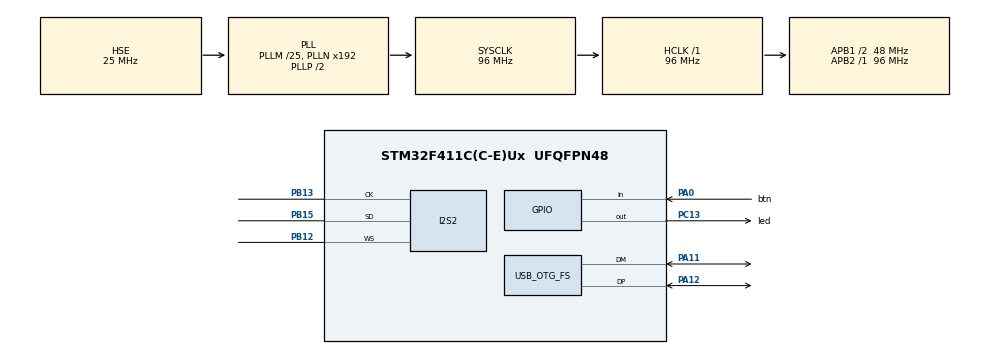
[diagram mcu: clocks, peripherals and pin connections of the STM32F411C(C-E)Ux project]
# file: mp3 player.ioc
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Dma.MEMTOMEM.1.Direction=DMA_MEMORY_TO_MEMORY
Dma.MEMTOMEM.1.FIFOMode=DMA_FIFOMODE_ENABLE
Dma.MEMTOMEM.1.FIFOThreshold=DMA_FIFO_THRESHOLD_FULL
Dma.MEMTOMEM.1.Instance=DMA2_Stream0
Dma.MEMTOMEM.1.MemBurst=DMA_MBURST_SINGLE
Dma.MEMTOMEM.1.MemDataAlignment=DMA_MDATAALIGN_HALFWORD
Dma.MEMTOMEM.1.MemInc=DMA_MINC_ENABLE
Dma.MEMTOMEM.1.Mode=DMA_NORMAL
Dma.MEMTOMEM.1.PeriphBurst=DMA_PBURST_SINGLE
Dma.MEMTOMEM.1.PeriphDataAlignment=DMA_PDATAALIGN_HALFWORD
Dma.MEMTOMEM.1.PeriphInc=DMA_PINC_DISABLE
Dma.MEMTOMEM.1.Priority=DMA_PRIORITY_HIGH
Dma.Request0=SPI2_TX
Dma.Request1=MEMTOMEM
Dma.SPI2_TX.0.Direction=DMA_MEMORY_TO_PERIPH
Dma.SPI2_TX.0.FIFOMode=DMA_FIFOMODE_DISABLE
Dma.SPI2_TX.0.Instance=DMA1_Stream4
Dma.SPI2_TX.0.MemDataAlignment=DMA_MDATAALIGN_HALFWORD
Dma.SPI2_TX.0.MemInc=DMA_MINC_ENABLE
Dma.SPI2_TX.0.Mode=DMA_CIRCULAR
Dma.SPI2_TX.0.PeriphDataAlignment=DMA_PDATAALIGN_HALFWORD
Dma.SPI2_TX.0.PeriphInc=DMA_PINC_DISABLE
Dma.SPI2_TX.0.Priority=DMA_PRIORITY_VERY_HIGH
FATFS._FS_LOCK=0
FATFS._FS_READONLY=0
FATFS._FS_RPATH=2
FATFS._MAX_SS=512
FATFS._USE_FIND=1
FATFS._USE_LFN=0
FATFS._USE_MKFS=0
I2S2.AudioFreq=I2S_AUDIOFREQ_44K
I2S2.ErrorAudioFreq=0.22 %
I2S2.FullDuplexMode=I2S_FULLDUPLEXMODE_DISABLE
I2S2.Instance=SPI$Index
I2S2.RealAudioFreq=44.1 KHz
I2S2.VirtualMode=I2S_MODE_MASTER
Mcu.Family=STM32F4
Mcu.Name=STM32F411C(C-E)Ux
Mcu.Package=UFQFPN48
NVIC.DMA1_Stream4_IRQn=true\:2\:0\:true\:false\:true\:false\:true
NVIC.DMA2_Stream0_IRQn=true\:3\:0\:true\:false\:true\:true\:true
NVIC.OTG_FS_IRQn=true\:1\:0\:true\:false\:true\:false\:true
NVIC.PriorityGroup=NVIC_PRIORITYGROUP_4
PA0-WKUP.GPIO_Label=btn
PA0-WKUP.GPIO_PuPd=GPIO_PULLUP
PA0-WKUP.Signal=GPIO_Input
PA11.Mode=Host_Only
PA11.Signal=USB_OTG_FS_DM
PA12.Mode=Host_Only
PA12.Signal=USB_OTG_FS_DP
PA13.Mode=Trace_Asynchronous_SW
PA13.Signal=SYS_JTMS-SWDIO
PA14.Mode=Trace_Asynchronous_SW
PA14.Signal=SYS_JTCK-SWCLK
PB12.Mode=Half_Duplex_Master
PB12.Signal=I2S2_WS
PB13.Mode=Half_Duplex_Master
PB13.Signal=I2S2_CK
PB15.Mode=Half_Duplex_Master
PB15.Signal=I2S2_SD
PB3.Mode=Trace_Asynchronous_SW
PB3.Signal=SYS_JTDO-SWO
PC13-ANTI_TAMP.GPIO_Label=led
PC13-ANTI_TAMP.Signal=GPIO_Output
PH0\ -\ OSC_IN.Mode=HSE-External-Oscillator
PH0\ -\ OSC_IN.Signal=RCC_OSC_IN
PH1\ -\ OSC_OUT.Mode=HSE-External-Oscillator
PH1\ -\ OSC_OUT.Signal=RCC_OSC_OUT
ProjectManager.HeapSize=0x1E000
ProjectManager.StackSize=0x200
ProjectManager.TargetToolchain=STM32CubeIDE
RCC.48MHZClocksFreq_Value=48000000
RCC.AHBFreq_Value=96000000
RCC.APB1CLKDivider=RCC_HCLK_DIV2
RCC.APB1Freq_Value=48000000
RCC.APB1TimFreq_Value=96000000
RCC.APB2Freq_Value=96000000
RCC.APB2TimFreq_Value=96000000
RCC.CortexFreq_Value=96000000
RCC.HCLKFreq_Value=96000000
RCC.HSE_VALUE=25000000
RCC.HSI_VALUE=16000000
RCC.LSE_VALUE=32768
RCC.PLLI2SM=25
RCC.PLLI2SN=302
RCC.PLLM=25
RCC.SYSCLKFreq_VALUE=96000000
RCC.SYSCLKSource=RCC_SYSCLKSOURCE_PLLCLK
RCC.VCOOutputFreq_Value=192000000
USB_HOST.BSP.number=1
USB_HOST.USBH_HandleTypeDef=hUsbHostFS
USB_HOST.USBH_MAX_DATA_BUFFER=512
USB_HOST.USBH_MAX_NUM_ENDPOINTS=2
USB_HOST.USBH_MAX_NUM_INTERFACES=2
USB_HOST.USBH_MAX_SIZE_CONFIGURATION=512
USB_HOST.VirtualModeFS=Msc
USB_HOST0.BSP.STBoard=false
USB_HOST0.BSP.api=Unknown
USB_HOST0.BSP.i2caddr=0
USB_HOST0.BSP.instance=PC13-ANTI_TAMP
USB_HOST0.BSP.ip=GPIO
USB_HOST0.BSP.mode=Output
USB_HOST0.BSP.name=Drive_VBUS_FS
USB_HOST0.BSP.solution=PC13-ANTI_TAMP
USB_OTG_FS.VirtualMode=Host_Only
USB_OTG_FS.phy_itface=HCD_PHY_EMBEDDED
VP_CRC_VS_CRC.Mode=CRC_Activate
VP_FATFS_VS_USB.Mode=USB
VP_USB_HOST_VS_USB_HOST_MSC_FS.Mode=MSC_FS
board=custom

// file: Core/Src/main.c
/* USER CODE BEGIN Header */
/**
  ******************************************************************************
  * @file           : main.c
  * @brief          : Main program body
  ******************************************************************************
  * @attention
  *
  * <h2><center>&copy; Copyright (c) 2021 STMicroelectronics.
  * All rights reserved.</center></h2>
  *
  * This software component is licensed by ST under Ultimate Liberty license
  * SLA0044, the "License"; You may not use this file except in compliance with
  * the License. You may obtain a copy of the License at:
  *                             www.st.com/SLA0044
  *
  ******************************************************************************
  */
/* USER CODE END Header */
#include "main.h"
#include "fatfs.h"
#include "usb_host.h"

/* USER CODE BEGIN Includes */
#include "spiritMP3Dec.h"
#include "files.h"
#include "i2sAudio.h"
#include <malloc.h>

/* USER CODE END Includes */

CRC_HandleTypeDef hcrc;

I2S_HandleTypeDef hi2s2;
DMA_HandleTypeDef hdma_spi2_tx;

DMA_HandleTypeDef hdma_memtomem_dma2_stream0;

void SystemClock_Config(void);
static void MX_GPIO_Init(void);
static void MX_DMA_Init(void);
static void MX_CRC_Init(void);
static void MX_I2S2_Init(void);
void MX_USB_HOST_Process(void);

/* USER CODE BEGIN PFP */
struct mallinfo info;

int _write(int32_t file, uint8_t *ptr, int32_t len)
{
	for (int i = 0; i < len; i++)
	{
		ITM_SendChar(*ptr++);
	}
	return len;
}

void updateMemInfo(void){
  static uint32_t tim;                // Update every 100mS
  uint32_t current = HAL_GetTick();
  if(current-tim>99){
    tim=current;
    info = mallinfo();
  }
}

volatile uint32_t *DWT_CONTROL = (uint32_t *) 0xE0001000;
volatile uint32_t *DWT_CYCCNT = (uint32_t *) 0xE0001004;
volatile uint32_t *DEMCR = (uint32_t *) 0xE000EDFC;
volatile uint32_t *LAR  = (uint32_t *) 0xE0001FB0;   // <-- added lock access register

/* USER CODE END PFP */

int main(void)
{
  /* USER CODE BEGIN 1 */
  /*
  *DEMCR = *DEMCR | 0x01000000;     // enable trace
  *LAR = 0xC5ACCE55;                // <-- added unlock access to DWT (ITM, etc.)registers
  *DWT_CYCCNT = 0;                  // clear DWT cycle counter
  *DWT_CONTROL = *DWT_CONTROL | 1;  // enable DWT cycle counter
*/
  free(calloc(1,122880));    // Allocate all the heap possible and then free it. Now the system knows the heap size, and won't cause internal fragmentation.
  /* USER CODE END 1 */

  /* MCU Configuration--------------------------------------------------------*/

  /* Reset of all peripherals, Initializes the Flash interface and the Systick. */
  HAL_Init();

  /* Configure the system clock */
  SystemClock_Config();

  /* Initialize all configured peripherals */
  MX_GPIO_Init();
  MX_DMA_Init();
  MX_CRC_Init();
  MX_USB_HOST_Init();
  MX_FATFS_Init();
  MX_I2S2_Init();
  /* USER CODE BEGIN 2 */
  printf("System Init\n");
  info = mallinfo();
  initAudio(&hi2s2);
  /* USER CODE END 2 */

  /* Infinite loop */
  /* USER CODE BEGIN WHILE */
  while (1)
  {
    updateMemInfo();
	  handleFS();
	  handleAudio();
    /* USER CODE END WHILE */
    MX_USB_HOST_Process();

  }
}

void SystemClock_Config(void)
{
  RCC_OscInitTypeDef RCC_OscInitStruct = {0};
  RCC_ClkInitTypeDef RCC_ClkInitStruct = {0};

  /** Configure the main internal regulator output voltage
  */
  __HAL_RCC_PWR_CLK_ENABLE();
  __HAL_PWR_VOLTAGESCALING_CONFIG(PWR_REGULATOR_VOLTAGE_SCALE1);
  /** Initializes the RCC Oscillators according to the specified parameters
  * in the RCC_OscInitTypeDef structure.
  */
  RCC_OscInitStruct.OscillatorType = RCC_OSCILLATORTYPE_HSE;
  RCC_OscInitStruct.HSEState = RCC_HSE_ON;
  RCC_OscInitStruct.PLL.PLLState = RCC_PLL_ON;
  RCC_OscInitStruct.PLL.PLLSource = RCC_PLLSOURCE_HSE;
  RCC_OscInitStruct.PLL.PLLM = 25;
  RCC_OscInitStruct.PLL.PLLN = 192;
  RCC_OscInitStruct.PLL.PLLP = RCC_PLLP_DIV2;
  RCC_OscInitStruct.PLL.PLLQ = 4;
  if (HAL_RCC_OscConfig(&RCC_OscInitStruct) != HAL_OK)
  {
    Error_Handler();
  }
  /** Initializes the CPU, AHB and APB buses clocks
  */
  RCC_ClkInitStruct.ClockType = RCC_CLOCKTYPE_HCLK|RCC_CLOCKTYPE_SYSCLK
                              |RCC_CLOCKTYPE_PCLK1|RCC_CLOCKTYPE_PCLK2;
  RCC_ClkInitStruct.SYSCLKSource = RCC_SYSCLKSOURCE_PLLCLK;
  RCC_ClkInitStruct.AHBCLKDivider = RCC_SYSCLK_DIV1;
  RCC_ClkInitStruct.APB1CLKDivider = RCC_HCLK_DIV2;
  RCC_ClkInitStruct.APB2CLKDivider = RCC_HCLK_DIV1;

  if (HAL_RCC_ClockConfig(&RCC_ClkInitStruct, FLASH_LATENCY_3) != HAL_OK)
  {
    Error_Handler();
  }
}

static void MX_CRC_Init(void)
{

  hcrc.Instance = CRC;
  if (HAL_CRC_Init(&hcrc) != HAL_OK)
  {
    Error_Handler();
  }

}

static void MX_I2S2_Init(void)
{

  hi2s2.Instance = SPI2;
  hi2s2.Init.Mode = I2S_MODE_MASTER_TX;
  hi2s2.Init.Standard = I2S_STANDARD_PHILIPS;
  hi2s2.Init.DataFormat = I2S_DATAFORMAT_16B;
  hi2s2.Init.MCLKOutput = I2S_MCLKOUTPUT_DISABLE;
  hi2s2.Init.AudioFreq = I2S_AUDIOFREQ_44K;
  hi2s2.Init.CPOL = I2S_CPOL_LOW;
  hi2s2.Init.ClockSource = I2S_CLOCK_PLL;
  hi2s2.Init.FullDuplexMode = I2S_FULLDUPLEXMODE_DISABLE;
  if (HAL_I2S_Init(&hi2s2) != HAL_OK)
  {
    Error_Handler();
  }

}

static void MX_DMA_Init(void)
{

  /* DMA controller clock enable */
  __HAL_RCC_DMA1_CLK_ENABLE();
  __HAL_RCC_DMA2_CLK_ENABLE();

  /* Configure DMA request hdma_memtomem_dma2_stream0 on DMA2_Stream0 */
  hdma_memtomem_dma2_stream0.Instance = DMA2_Stream0;
  hdma_memtomem_dma2_stream0.Init.Channel = DMA_CHANNEL_0;
  hdma_memtomem_dma2_stream0.Init.Direction = DMA_MEMORY_TO_MEMORY;
  hdma_memtomem_dma2_stream0.Init.PeriphInc = DMA_PINC_DISABLE;
  hdma_memtomem_dma2_stream0.Init.MemInc = DMA_MINC_ENABLE;
  hdma_memtomem_dma2_stream0.Init.PeriphDataAlignment = DMA_PDATAALIGN_HALFWORD;
  hdma_memtomem_dma2_stream0.Init.MemDataAlignment = DMA_MDATAALIGN_HALFWORD;
  hdma_memtomem_dma2_stream0.Init.Mode = DMA_NORMAL;
  hdma_memtomem_dma2_stream0.Init.Priority = DMA_PRIORITY_HIGH;
  hdma_memtomem_dma2_stream0.Init.FIFOMode = DMA_FIFOMODE_ENABLE;
  hdma_memtomem_dma2_stream0.Init.FIFOThreshold = DMA_FIFO_THRESHOLD_FULL;
  hdma_memtomem_dma2_stream0.Init.MemBurst = DMA_MBURST_SINGLE;
  hdma_memtomem_dma2_stream0.Init.PeriphBurst = DMA_PBURST_SINGLE;
  if (HAL_DMA_Init(&hdma_memtomem_dma2_stream0) != HAL_OK)
  {
    Error_Handler( );
  }

  /* DMA interrupt init */
  /* DMA1_Stream4_IRQn interrupt configuration */
  HAL_NVIC_SetPriority(DMA1_Stream4_IRQn, 2, 0);
  HAL_NVIC_EnableIRQ(DMA1_Stream4_IRQn);
  /* DMA2_Stream0_IRQn interrupt configuration */
  HAL_NVIC_SetPriority(DMA2_Stream0_IRQn, 3, 0);
  HAL_NVIC_EnableIRQ(DMA2_Stream0_IRQn);

}

static void MX_GPIO_Init(void)
{
  GPIO_InitTypeDef GPIO_InitStruct = {0};

  /* GPIO Ports Clock Enable */
  __HAL_RCC_GPIOC_CLK_ENABLE();
  __HAL_RCC_GPIOH_CLK_ENABLE();
  __HAL_RCC_GPIOA_CLK_ENABLE();
  __HAL_RCC_GPIOB_CLK_ENABLE();

  /*Configure GPIO pin Output Level */
  HAL_GPIO_WritePin(led_GPIO_Port, led_Pin, GPIO_PIN_RESET);

  /*Configure GPIO pin : led_Pin */
  GPIO_InitStruct.Pin = led_Pin;
  GPIO_InitStruct.Mode = GPIO_MODE_OUTPUT_PP;
  GPIO_InitStruct.Pull = GPIO_NOPULL;
  GPIO_InitStruct.Speed = GPIO_SPEED_FREQ_LOW;
  HAL_GPIO_Init(led_GPIO_Port, &GPIO_InitStruct);

  /*Configure GPIO pin : btn_Pin */
  GPIO_InitStruct.Pin = btn_Pin;
  GPIO_InitStruct.Mode = GPIO_MODE_INPUT;
  GPIO_InitStruct.Pull = GPIO_PULLUP;
  HAL_GPIO_Init(btn_GPIO_Port, &GPIO_InitStruct);

}

void Error_Handler(void)
{
  __disable_irq();
  while (1)
  {
  }
}

#ifdef  USE_FULL_ASSERT
/**
  * @brief  Reports the name of the source file and the source line number
  *         where the assert_param error has occurred.
  * @param  file: pointer to the source file name
  * @param  line: assert_param error line source number
  * @retval None
  */
void assert_failed(uint8_t *file, uint32_t line)
{
  /* USER CODE BEGIN 6 */
  /* User can add his own implementation to report the file name and line number,
     ex: iprintf("Wrong parameters value: file %s on line %d\r\n", file, line) */
  /* USER CODE END 6 */
}
#endif /* USE_FULL_ASSERT */
